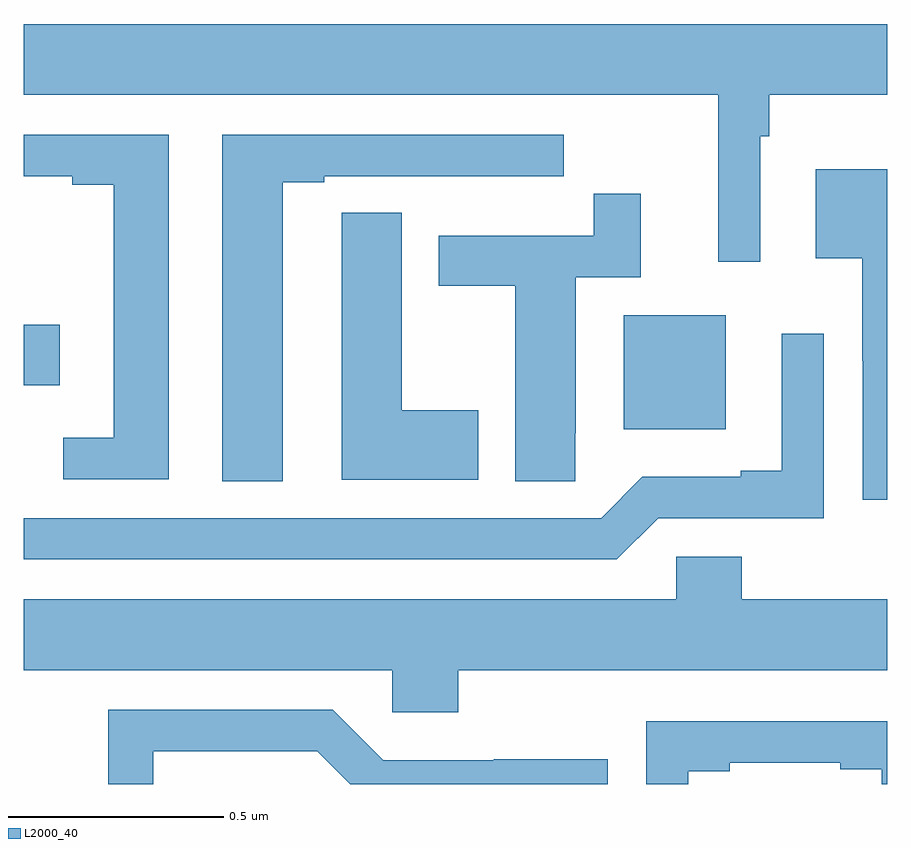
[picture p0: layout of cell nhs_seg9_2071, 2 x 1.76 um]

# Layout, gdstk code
import gdstk
lib = gdstk.Library(unit=1e-6, precision=1e-09)
def R(c, l, rs):  # rectangles x0, y0, x1, y1
    for r in rs: c.add(gdstk.rectangle(r[:2], r[2:], *l))
def P(c, l, *ps):  # polygons
    for p in ps: c.add(gdstk.Polygon(p, *l))
L2000_40 = (2000, 40)

nhs_seg9_2071 = lib.new_cell('nhs_seg9_2071')
R(nhs_seg9_2071, L2000_40, [(137.39,1186.322,137.626,1186.585), (136,1186.424,136.084,1186.564)])
P(nhs_seg9_2071, L2000_40, [(137.706,1187),(137.726,1187),(137.726,1187.096),(138,1187.096),(138,1187.26),(136,1187.26),(136,1187.096),(137.609,1187.096),(137.609,1186.71),(137.706,1186.71)],
  [(136.6,1186.893),(136.696,1186.893),(136.696,1186.908),(136.972,1186.908),(136.972,1186.907),(137.138,1186.907),(137.138,1186.908),(137.251,1186.908),(137.251,1187.004),(136.46,1187.004),(136.46,1186.201),(136.6,1186.201)],
  [(136.336,1187.004),(136,1187.004),(136,1186.908),(136.112,1186.908),(136.112,1186.888),(136.208,1186.888),(136.208,1186.302),(136.092,1186.302),(136.092,1186.206),(136.336,1186.206)],
  [(138,1186.924),(137.834,1186.924),(137.834,1186.718),(137.942,1186.718),(137.942,1186.48),(137.943,1186.48),(137.943,1186.158),(138,1186.158)],
  [(137.277,1186.312),(137.278,1186.312),(137.278,1186.674),(137.429,1186.674),(137.429,1186.867),(137.32,1186.867),(137.32,1186.77),(136.961,1186.77),(136.961,1186.654),(137.138,1186.654),(137.138,1186.201),(137.277,1186.201)],
  [(137.053,1186.365),(136.876,1186.365),(136.876,1186.823),(136.737,1186.823),(136.737,1186.715),(136.736,1186.715),(136.736,1186.205),(137.053,1186.205)],
  [(137.469,1186.116),(137.853,1186.116),(137.853,1186.543),(137.756,1186.543),(137.756,1186.225),(137.66,1186.225),(137.66,1186.212),(137.433,1186.212),(137.337,1186.116),(136,1186.116),(136,1186.02),(137.373,1186.02)],
  [(136,1185.764),(136.854,1185.764),(136.854,1185.666),(137.006,1185.666),(137.006,1185.764),(138,1185.764),(138,1185.928),(137.663,1185.928),(137.663,1186.026),(137.511,1186.026),(137.511,1185.928),(136,1185.928)],
  [(136.3,1185.576),(136.68,1185.576),(136.756,1185.5),(137.352,1185.5),(137.352,1185.557),(137.089,1185.557),(137.089,1185.555),(136.833,1185.555),(136.716,1185.672),(136.196,1185.672),(136.196,1185.5),(136.3,1185.5)],
  [(137.539,1185.529),(137.635,1185.529),(137.635,1185.549),(137.891,1185.549),(137.891,1185.534),(137.987,1185.534),(137.987,1185.5),(138,1185.5),(138,1185.645),(137.442,1185.645),(137.442,1185.5),(137.539,1185.5)])

lib.write_gds('nhs_seg9_2071.gds')
